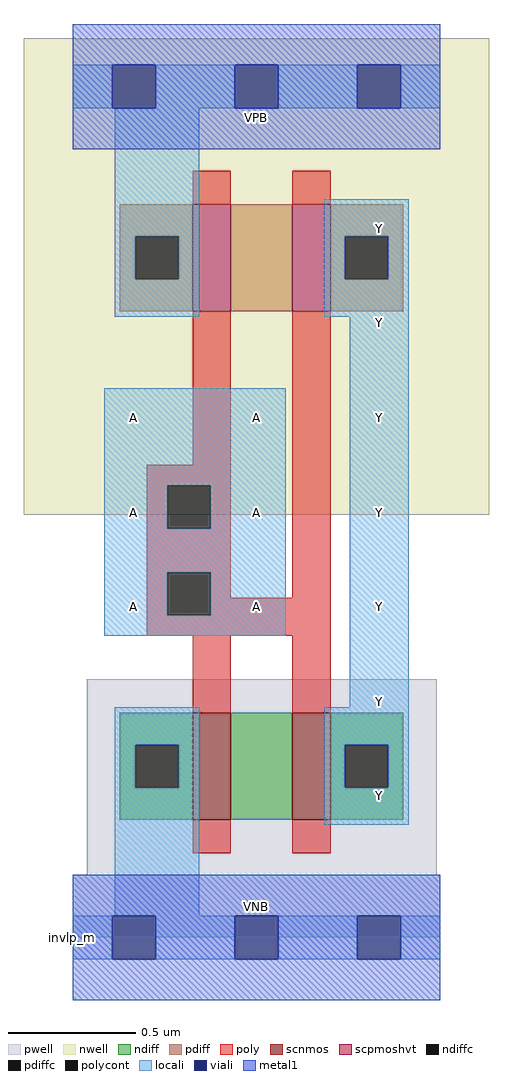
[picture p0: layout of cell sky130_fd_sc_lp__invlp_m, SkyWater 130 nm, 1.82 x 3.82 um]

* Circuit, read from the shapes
.subckt sky130_fd_sc_lp__invlp_m A VGND VNB VPB VPWR Y
XM1 n1 A VGND VNB sky130_fd_pr__nfet_01v8 w=0.42 l=0.15
XM2 Y A n1 VNB sky130_fd_pr__nfet_01v8 w=0.42 l=0.15
XM3 n2 A VPWR VPB sky130_fd_pr__pfet_01v8_hvt w=0.42 l=0.15
XM4 Y A n2 VPB sky130_fd_pr__pfet_01v8_hvt w=0.42 l=0.15
.ends

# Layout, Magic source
magic
tech sky130A
magscale 1 2
<< nwell >>
rect -38 331 326 704
<< pwell >>
rect 11 49 285 202
rect 0 0 288 49
<< scnmos >>
rect 94 92 124 176
rect 172 92 202 176
<< scpmoshvt >>
rect 94 490 124 574
rect 172 490 202 574
<< ndiff >>
rect 37 151 94 176
rect 37 117 49 151
rect 83 117 94 151
rect 37 92 94 117
rect 124 92 172 176
rect 202 151 259 176
rect 202 117 213 151
rect 247 117 259 151
rect 202 92 259 117
<< pdiff >>
rect 37 549 94 574
rect 37 515 49 549
rect 83 515 94 549
rect 37 490 94 515
rect 124 490 172 574
rect 202 549 259 574
rect 202 515 213 549
rect 247 515 259 549
rect 202 490 259 515
<< ndiffc >>
rect 49 117 83 151
rect 213 117 247 151
<< pdiffc >>
rect 49 515 83 549
rect 213 515 247 549
<< poly >>
rect 94 574 124 600
rect 172 574 202 600
rect 94 370 124 490
rect 58 354 124 370
rect 58 320 74 354
rect 108 320 124 354
rect 58 286 124 320
rect 58 252 74 286
rect 108 266 124 286
rect 172 266 202 490
rect 108 252 202 266
rect 58 236 202 252
rect 94 176 124 236
rect 172 176 202 236
rect 94 66 124 92
rect 172 66 202 92
<< polycont >>
rect 74 320 108 354
rect 74 252 108 286
<< locali >>
rect 0 649 31 683
rect 65 649 127 683
rect 161 649 223 683
rect 257 649 288 683
rect 33 549 99 649
rect 33 515 49 549
rect 83 515 99 549
rect 33 486 99 515
rect 197 549 263 578
rect 197 515 213 549
rect 247 515 263 549
rect 197 486 263 515
rect 25 354 167 430
rect 25 320 74 354
rect 108 320 167 354
rect 25 286 167 320
rect 25 252 74 286
rect 108 252 167 286
rect 25 236 167 252
rect 217 180 263 486
rect 33 151 99 180
rect 33 117 49 151
rect 83 117 99 151
rect 33 17 99 117
rect 197 151 263 180
rect 197 117 213 151
rect 247 117 263 151
rect 197 88 263 117
rect 0 -17 31 17
rect 65 -17 127 17
rect 161 -17 223 17
rect 257 -17 288 17
<< viali >>
rect 31 649 65 683
rect 127 649 161 683
rect 223 649 257 683
rect 31 -17 65 17
rect 127 -17 161 17
rect 223 -17 257 17
<< metal1 >>
rect 0 683 288 715
rect 0 649 31 683
rect 65 649 127 683
rect 161 649 223 683
rect 257 649 288 683
rect 0 617 288 649
rect 0 17 288 49
rect 0 -17 31 17
rect 65 -17 127 17
rect 161 -17 223 17
rect 257 -17 288 17
rect 0 -49 288 -17
<< labels >>
flabel pwell s 0 0 288 49 0 FreeSans 200 0 0 0 VNB
port 3 nsew ground bidirectional
flabel nwell s 0 617 288 666 0 FreeSans 200 0 0 0 VPB
port 4 nsew power bidirectional
rlabel comment s 0 0 0 0 4 invlp_m
flabel metal1 s 0 617 288 666 0 FreeSans 340 0 0 0 VPWR
port 5 nsew power bidirectional
flabel metal1 s 0 0 288 49 0 FreeSans 340 0 0 0 VGND
port 2 nsew ground bidirectional
flabel locali s 31 242 65 276 0 FreeSans 340 0 0 0 A
port 1 nsew signal input
flabel locali s 31 316 65 350 0 FreeSans 340 0 0 0 A
port 1 nsew signal input
flabel locali s 31 390 65 424 0 FreeSans 340 0 0 0 A
port 1 nsew signal input
flabel locali s 127 242 161 276 0 FreeSans 340 0 0 0 A
port 1 nsew signal input
flabel locali s 127 316 161 350 0 FreeSans 340 0 0 0 A
port 1 nsew signal input
flabel locali s 127 390 161 424 0 FreeSans 340 0 0 0 A
port 1 nsew signal input
flabel locali s 223 94 257 128 0 FreeSans 340 0 0 0 Y
port 6 nsew signal output
flabel locali s 223 168 257 202 0 FreeSans 340 0 0 0 Y
port 6 nsew signal output
flabel locali s 223 242 257 276 0 FreeSans 340 0 0 0 Y
port 6 nsew signal output
flabel locali s 223 316 257 350 0 FreeSans 340 0 0 0 Y
port 6 nsew signal output
flabel locali s 223 390 257 424 0 FreeSans 340 0 0 0 Y
port 6 nsew signal output
flabel locali s 223 464 257 498 0 FreeSans 340 0 0 0 Y
port 6 nsew signal output
flabel locali s 223 538 257 572 0 FreeSans 340 0 0 0 Y
port 6 nsew signal output
<< properties >>
string LEFsite unit
string LEFclass CORE
string FIXED_BBOX 0 0 288 666
string GDS_FILE $PDKPATH/libs.ref/sky130_fd_sc_lp/gds/sky130_fd_sc_lp.gds
string LEFsymmetry X Y R90
string GDS_END 6853938
string GDS_START 6849646
<< end >>
